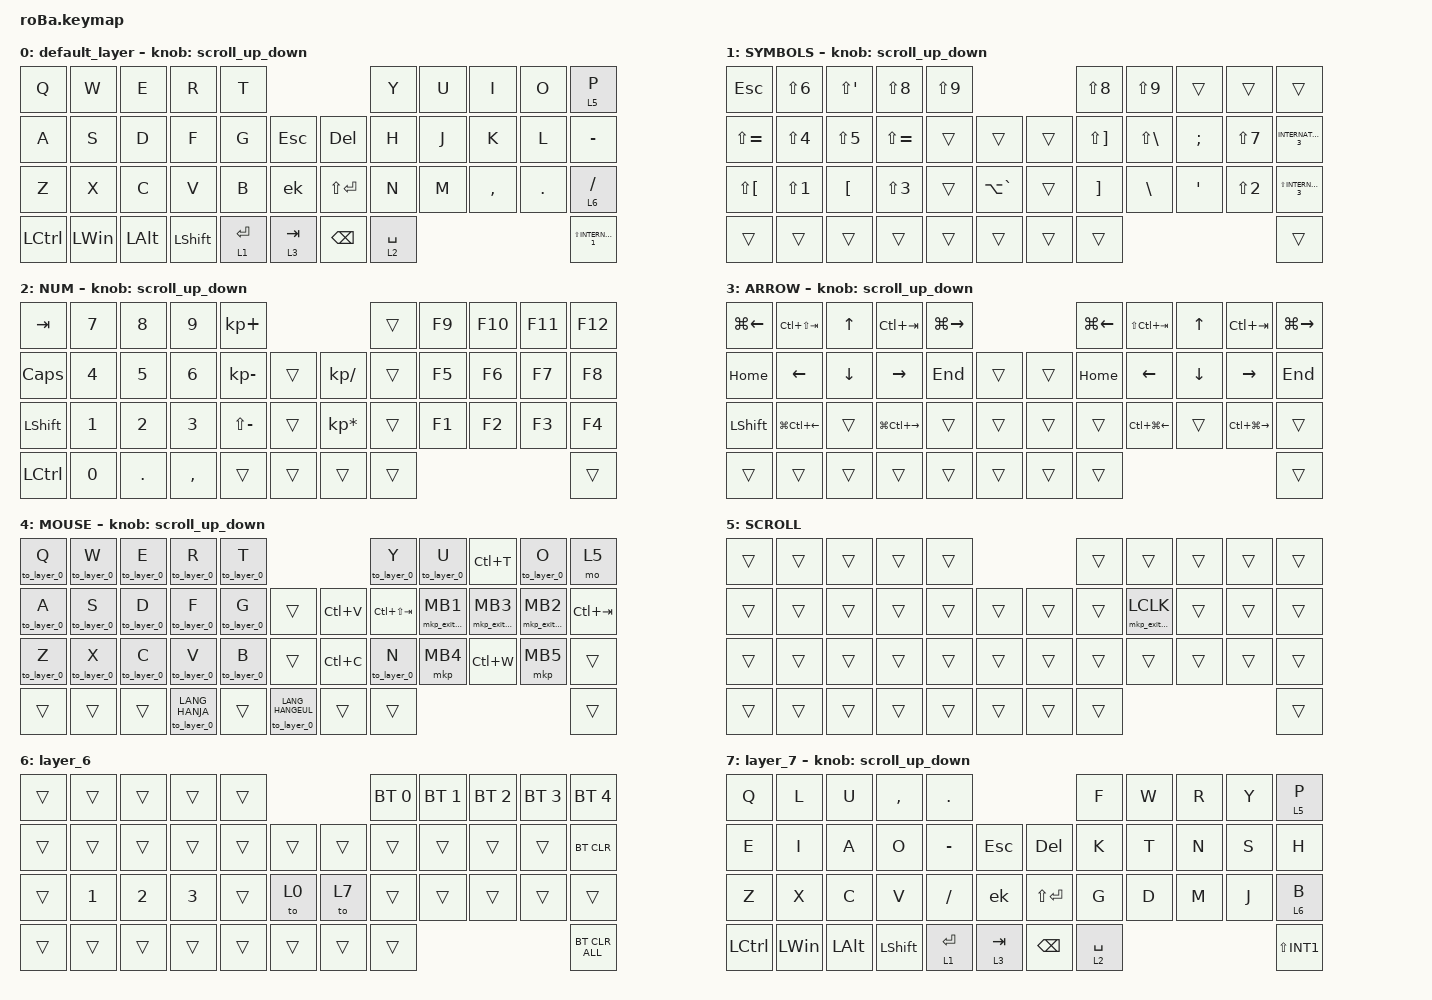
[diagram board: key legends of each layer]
#include <behaviors.dtsi>
#include <dt-bindings/zmk/bt.h>
#include <dt-bindings/zmk/keys.h>
#include <dt-bindings/zmk/pointing.h>

#define ZMK_POINTING_DEFAULT_SCRL_VAL 100
#define MOUSE 4
#define SCROLL 5
#define NUM 6

&mt {
    flavor = "hold-preferred";
    quick-tap-ms = <0>;
};

&trackball {
    automouse-layer = <4>;
    scroll-layers = <5>;
};

&sl { release-after-ms = <250>; };

/ {
    combos { compatible = "zmk,combos"; };

    macros {
        to_layer_0: to_layer_0 {
            compatible = "zmk,behavior-macro-one-param";
            #binding-cells = <1>;
            bindings = <&to 0 &macro_param_1to1 &kp MACRO_PLACEHOLDER>;
            label = "TO_LAYER_0";
        };

        mkp_exit_AML: mkp_exit_AML {
            compatible = "zmk,behavior-macro-one-param";
            #binding-cells = <1>;
            bindings =
                <&macro_press>,
                <&macro_param_1to1 &mkp MACRO_PLACEHOLDER>,
                <&macro_pause_for_release>,
                <&macro_release>,
                <&macro_param_1to1 &mkp MACRO_PLACEHOLDER>,
                <&macro_tap>,
                <&sl 4>;

            label = "MKP_EXIT_AML";
        };
    };

    behaviors {
        scroll_up_down: behavior_sensor_rotate_mouse_wheel_up_down {
            compatible = "zmk,behavior-sensor-rotate";
            #sensor-binding-cells = <0>;
            bindings = <&msc SCRL_DOWN>, <&msc SCRL_UP>;

            // 追加: スクロールのタップ時間を設定 (20ms)

            tap-ms = <20>;
        };

        multi_tap_tab_bspc: behavior_multi_tap {
            label = "MT_TAB_BSPC";
            #binding-cells = <0>;
            bindings = <&kp TAB>, <&kp BSPC>;

            max-taps = <2>;
            max-tap-interrupt-ms = <250>;
        };

        ek: eisu_kana {
            compatible = "zmk,behavior-tap-dance";
            label = "Eisu / Kana";
            #binding-cells = <0>;
            bindings = <&kp LANGUAGE_2>, <&kp LANGUAGE_1>;

            tapping-term-ms = <250>;
        };
    };

    keymap {
        compatible = "zmk,keymap";

        default_layer {
            bindings = <
&kp Q      &kp W         &kp E         &kp R           &kp T                                       &kp Y        &kp U  &kp I      &kp O    &lt 5 P
&kp A      &kp S         &kp D         &kp F           &kp G        &kp ESCAPE      &kp DELETE     &kp H        &kp J  &kp K      &kp L    &kp MINUS
&kp Z      &kp X         &kp C         &kp V           &kp B        &ek             &kp LS(ENTER)  &kp N        &kp M  &kp COMMA  &kp DOT  &lt 6 SLASH
&kp LCTRL  &kp LEFT_WIN  &kp LEFT_ALT  &kp LEFT_SHIFT  &lt 1 ENTER  &lt 3 TAB       &kp BACKSPACE  &lt 2 SPACE                             &kp LS(INTERNATIONAL_1)
            >;

            sensor-bindings = <&scroll_up_down>;
        };

        SYMBOLS {
            bindings = <
&kp ESCAPE     &kp LS(N6)  &kp LS(SQT)  &kp LS(N8)     &kp LS(N9)                             &kp LS(N8)    &kp LS(N9)    &trans         &trans      &trans
&kp LS(EQUAL)  &kp LS(N4)  &kp LS(N5)   &kp LS(EQUAL)  &trans      &trans             &trans  &kp LS(RBKT)  &kp LS(BSLH)  &kp SEMICOLON  &kp LS(N7)  &kp INTERNATIONAL_3
&kp LS(LBKT)   &kp LS(N1)  &kp LBKT     &kp LS(N3)     &trans      &kp LA(GRAVE)      &trans  &kp RBKT      &kp BSLH      &kp SQT        &kp LS(N2)  &kp LS(INTERNATIONAL_3)
&trans         &trans      &trans       &trans         &trans      &trans             &trans  &trans                                                 &trans
            >;

            sensor-bindings = <&scroll_up_down>;
        };

        NUM {
            bindings = <
&kp TAB           &kp NUMBER_7  &kp N8        &kp N9        &kp KP_PLUS                                 &trans  &kp F9  &kp F10  &kp F11  &kp F12
&kp CAPS          &kp NUMBER_4  &kp NUMBER_5  &kp NUMBER_6  &kp KP_MINUS   &trans      &kp KP_SLASH     &trans  &kp F5  &kp F6   &kp F7   &kp F8
&kp LEFT_SHIFT    &kp NUMBER_1  &kp NUMBER_2  &kp NUMBER_3  &kp LS(MINUS)  &trans      &kp KP_ASTERISK  &trans  &kp F1  &kp F2   &kp F3   &kp F4
&kp LEFT_CONTROL  &kp N0        &kp DOT       &kp COMMA     &trans         &trans      &trans           &trans                            &trans
            >;

            sensor-bindings = <&scroll_up_down>;
        };

        ARROW {
            bindings = <
&kp LG(LEFT_ARROW)  &kp LC(LS(TAB))         &kp UP_ARROW    &kp LC(TAB)              &kp LG(RIGHT_ARROW)                      &kp LG(LEFT_ARROW)  &kp LS(LC(TAB))         &kp UP_ARROW    &kp LC(TAB)              &kp LG(RIGHT_ARROW)
&kp HOME            &kp LEFT_ARROW          &kp DOWN_ARROW  &kp RIGHT_ARROW          &kp END              &trans      &trans  &kp HOME            &kp LEFT_ARROW          &kp DOWN_ARROW  &kp RIGHT_ARROW          &kp END
&kp LEFT_SHIFT      &kp LG(LC(LEFT_ARROW))  &trans          &kp LG(LC(RIGHT_ARROW))  &trans               &trans      &trans  &trans              &kp LC(LG(LEFT_ARROW))  &trans          &kp LC(LG(RIGHT_ARROW))  &trans
&trans              &trans                  &trans          &trans                   &trans               &trans      &trans  &trans                                                                               &trans
            >;

            sensor-bindings = <&scroll_up_down>;
        };

        MOUSE {
            bindings = <
&to_layer_0 Q  &to_layer_0 W  &to_layer_0 E  &to_layer_0 R           &to_layer_0 T                                           &to_layer_0 Y    &to_layer_0 U      &kp LC(T)          &to_layer_0 O      &mo 5
&to_layer_0 A  &to_layer_0 S  &to_layer_0 D  &to_layer_0 F           &to_layer_0 G  &trans                        &kp LC(V)  &kp LC(LS(TAB))  &mkp_exit_AML MB1  &mkp_exit_AML MB3  &mkp_exit_AML MB2  &kp LC(TAB)
&to_layer_0 Z  &to_layer_0 X  &to_layer_0 C  &to_layer_0 V           &to_layer_0 B  &trans                        &kp LC(C)  &to_layer_0 N    &mkp MB4           &kp LC(W)          &mkp MB5           &trans
&trans         &trans         &trans         &to_layer_0 LANG_HANJA  &trans         &to_layer_0 LANG_HANGEUL      &trans     &trans                                                                    &trans
            >;

            sensor-bindings = <&scroll_up_down>;
        };

        SCROLL {
            bindings = <
&trans  &trans  &trans  &trans  &trans                      &trans  &trans              &trans  &trans  &trans
&trans  &trans  &trans  &trans  &trans  &trans      &trans  &trans  &mkp_exit_AML LCLK  &trans  &trans  &trans
&trans  &trans  &trans  &trans  &trans  &trans      &trans  &trans  &trans              &trans  &trans  &trans
&trans  &trans  &trans  &trans  &trans  &trans      &trans  &trans                                      &trans
            >;
        };

        layer_6 {
            bindings = <
&trans  &trans        &trans        &trans        &trans                      &bt BT_SEL 0  &bt BT_SEL 1  &bt BT_SEL 2  &bt BT_SEL 3  &bt BT_SEL 4
&trans  &trans        &trans        &trans        &trans  &trans      &trans  &trans        &trans        &trans        &trans        &bt BT_CLR
&trans  &kp NUMBER_1  &kp NUMBER_2  &kp NUMBER_3  &trans  &to 0       &to 7   &trans        &trans        &trans        &trans        &trans
&trans  &trans        &trans        &trans        &trans  &trans      &trans  &trans                                                  &bt BT_CLR_ALL
            >;
        };

        layer_7 {
            bindings = <
&kp Q             &kp L         &kp U         &kp COMMA       &kp DOT                                     &kp F        &kp W  &kp R  &kp Y  &lt 5 P
&kp E             &kp I         &kp A         &kp O           &kp MINUS    &kp ESCAPE      &kp DELETE     &kp K        &kp T  &kp N  &kp S  &kp H
&kp Z             &kp X         &kp C         &kp V           &kp SLASH    &ek             &kp LS(ENTER)  &kp G        &kp D  &kp M  &kp J  &lt 6 B
&kp LEFT_CONTROL  &kp LEFT_WIN  &kp LEFT_ALT  &kp LEFT_SHIFT  &lt 1 ENTER  &lt 3 TAB       &kp BACKSPACE  &lt 2 SPACE                       &kp LS(INT1)
            >;

            sensor-bindings = <&scroll_up_down>;
        };
    };
};
